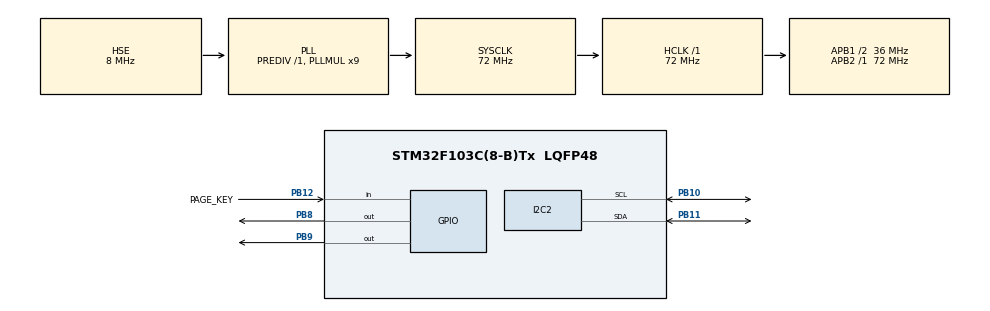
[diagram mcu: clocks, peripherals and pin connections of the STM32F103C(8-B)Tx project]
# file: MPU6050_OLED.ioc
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Mcu.Family=STM32F1
Mcu.Name=STM32F103C(8-B)Tx
Mcu.Package=LQFP48
NVIC.PriorityGroup=NVIC_PRIORITYGROUP_4
PA13.Mode=Serial_Wire
PA13.Signal=SYS_JTMS-SWDIO
PA14.Mode=Serial_Wire
PA14.Signal=SYS_JTCK-SWCLK
PB10.Mode=I2C
PB10.Signal=I2C2_SCL
PB11.Mode=I2C
PB11.Signal=I2C2_SDA
PB12.GPIO_Label=PAGE_KEY
PB12.GPIO_PuPd=GPIO_PULLUP
PB12.Signal=GPIO_Input
PB8.GPIO_ModeDefaultOutputPP=GPIO_MODE_OUTPUT_OD
PB8.GPIO_PuPd=GPIO_NOPULL
PB8.PinState=GPIO_PIN_SET
PB8.Signal=GPIO_Output
PB9.GPIO_ModeDefaultOutputPP=GPIO_MODE_OUTPUT_OD
PB9.GPIO_PuPd=GPIO_NOPULL
PB9.PinState=GPIO_PIN_SET
PB9.Signal=GPIO_Output
PD0-OSC_IN.Mode=HSE-External-Oscillator
PD0-OSC_IN.Signal=RCC_OSC_IN
PD1-OSC_OUT.Mode=HSE-External-Oscillator
PD1-OSC_OUT.Signal=RCC_OSC_OUT
ProjectManager.HeapSize=0x200
ProjectManager.StackSize=0x400
ProjectManager.TargetToolchain=CMake
RCC.AHBFreq_Value=72000000
RCC.APB1CLKDivider=RCC_HCLK_DIV2
RCC.APB1Freq_Value=36000000
RCC.APB1TimFreq_Value=72000000
RCC.APB2Freq_Value=72000000
RCC.APB2TimFreq_Value=72000000
RCC.HCLKFreq_Value=72000000
RCC.PLLMUL=RCC_PLL_MUL9
RCC.PLLSourceVirtual=RCC_PLLSOURCE_HSE
RCC.SYSCLKFreq_VALUE=72000000
RCC.SYSCLKSource=RCC_SYSCLKSOURCE_PLLCLK
RCC.USBFreq_Value=72000000
board=custom

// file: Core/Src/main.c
/* USER CODE BEGIN Header */
/**
  ******************************************************************************
  * @file           : main.c
  * @brief          : Main program body
  ******************************************************************************
  * @attention
  *
  * Copyright (c) 2026 STMicroelectronics.
  * All rights reserved.
  *
  * This software is licensed under terms that can be found in the LICENSE file
  * in the root directory of this software component.
  * If no LICENSE file comes with this software, it is provided AS-IS.
  *
  ******************************************************************************
  */
/* USER CODE END Header */
#include "main.h"
#include "i2c.h"
#include "gpio.h"

/* USER CODE BEGIN Includes */
#include "oled.h"
#include "mpu6050.h"
/* USER CODE END Includes */

/* USER CODE BEGIN PTD */
typedef enum
{
  DISPLAY_PAGE_ACCEL = 0,
  DISPLAY_PAGE_GYRO
} DisplayPage_t;

/* USER CODE END PTD */

/* USER CODE BEGIN PD */
#define PAGE_KEY_DEBOUNCE_MS 20U
#define DATA_REFRESH_MS     100U

/* USER CODE END PD */

/* USER CODE BEGIN PV */
static uint8_t mpu6050_who_am_i = 0U;
static uint8_t mpu6050_ready = 0U; /* Initialization must succeed before sampling. */
static MPU6050_RawData_t mpu6050_raw;
static int16_t mpu6050_gyro_offset[3] = {0, 0, 0};
static DisplayPage_t display_page = DISPLAY_PAGE_ACCEL;
static uint8_t page_changed = 1U;
static uint8_t data_error = 0U;
static uint32_t last_refresh_tick = 0U;
static GPIO_PinState page_key_last = GPIO_PIN_SET;
static GPIO_PinState page_key_stable = GPIO_PIN_SET;
static uint32_t page_key_change_tick = 0U;
static const char *const AppScreenTitle[2] = {"加速度", "陀螺仪"};
/* USER CODE END PV */

void SystemClock_Config(void);
/* USER CODE BEGIN PFP */
static uint8_t AppInit(void);
/* USER CODE END PFP */

/* USER CODE BEGIN 0 */
/* Axis labels used only by the startup calibration result screen. */
static const char *const AppAxisLabels[3] = {"X", "Y", "Z"};

/* Only a debounced press edge emits an event; release must debounce before rearming. */
static uint8_t AppPageKeyPressed(void)
{
  GPIO_PinState current = HAL_GPIO_ReadPin(PAGE_KEY_GPIO_Port, PAGE_KEY_Pin);
  uint32_t now = HAL_GetTick();

  if (current != page_key_last)
  {
    page_key_last = current;
    page_key_change_tick = now;
  }

  if ((current != page_key_stable) &&
      ((uint32_t)(now - page_key_change_tick) >= PAGE_KEY_DEBOUNCE_MS))
  {
    page_key_stable = current;
    return (current == GPIO_PIN_RESET) ? 1U : 0U;
  }
  return 0U;
}

static void AppShowPage(void)
{
  static const char *const labels[2][3] = {
    {"AX:", "AY:", "AZ:"},
    {"GX:", "GY:", "GZ:"}
  };

  OLED_Clear();
  OLED_ShowText(0U, 0U, AppScreenTitle[display_page]);
  for (uint8_t i = 0U; i < 3U; i++)
  {
    OLED_ShowText(0U, (uint8_t)(2U + (2U * i)), labels[display_page][i]);
  }
}

static void AppShowAxisLabels(void)
{
  for (uint8_t i = 0U; i < 3U; i++)
  {
    OLED_ShowText(0U, (uint8_t)(2U + (2U * i)), AppAxisLabels[i]);
  }
}

/**
  * @brief  Refresh the three values on the selected page.
  * @param  screen Acceleration raw values or gyroscope values minus offsets.
  */
static void AppShowValues(DisplayPage_t screen)
{
  int32_t value[3];

  /* A failed read must not leave stale values looking like current measurements. */
  if (data_error != 0U)
  {
    for (uint8_t i = 0U; i < 3U; i++)
    {
      OLED_ShowText(32U, (uint8_t)(2U + (2U * i)), "   ERR");
    }
    return;
  }

  if (screen == DISPLAY_PAGE_ACCEL)
  {
    value[0] = mpu6050_raw.accel_x;
    value[1] = mpu6050_raw.accel_y;
    value[2] = mpu6050_raw.accel_z;
  }
  else
  {
    /* 校准的含义就是把静止时测到的零偏减掉，这里直接把这一步写出来 */
    value[0] = (int32_t)mpu6050_raw.gyro_x - (int32_t)mpu6050_gyro_offset[0];
    value[1] = (int32_t)mpu6050_raw.gyro_y - (int32_t)mpu6050_gyro_offset[1];
    value[2] = (int32_t)mpu6050_raw.gyro_z - (int32_t)mpu6050_gyro_offset[2];
  }

  for (uint8_t i = 0U; i < 3U; i++)
  {
    OLED_ShowTextNum(32U, (uint8_t)(2U + (2U * i)), value[i], 6U);
  }
}

/**
  * @brief  Show a startup message and optionally hold it on screen.
  * @param  hold_ms Zero returns immediately; otherwise delay in milliseconds.
  *                 Used only during startup, before key polling begins.
  */
static void AppShowMessage(const char *line0, const char *line1, uint32_t hold_ms)
{
  OLED_Clear();
  OLED_ShowText(0U, 0U, line0);
  if (line1 != NULL)
  {
    OLED_ShowText(0U, 2U, line1);
  }

  if (hold_ms != 0U)
  {
    HAL_Delay(hold_ms);
  }
}

/**
  * @brief  Initialize the displays and sensor, then calibrate gyro offsets.
  * @retval 1 when ready to sample; 0 on initialization failure.
  * @note   Keep the failure message visible without blocking in a failure loop.
  *         器件不在线时系统仍然继续运行
  */
static uint8_t AppInit(void)
{
  OLED_Init();
  AppShowMessage("MPU6050", "INIT", 1200U);

  /* Check device acknowledgement and identity before configuring it.
     I2C 读写都带毫秒级超时，器件不在线时不会卡死 */
  if ((MPU6050_IsReady() != HAL_OK) || (MPU6050_ReadWhoAmI(&mpu6050_who_am_i) != HAL_OK))
  {
    AppShowMessage("NO RESPONSE", NULL, 0U);
    return 0U;
  }

  OLED_Clear();
  OLED_ShowText(0U, 0U, "ID:");
  OLED_ShowTextHex(48U, 0U, mpu6050_who_am_i);

  if (mpu6050_who_am_i != MPU6050_WHO_AM_I_ID)
  {
    /* 通信成功但身份不符：可能不是 MPU6050，或寄存器被改写 */
    OLED_ShowText(0U, 2U, "ID MISMATCH");
    return 0U;
  }
  OLED_ShowText(0U, 2U, "DEVICE OK");
  HAL_Delay(1200U);

  /* Wake the device before setting measurement ranges. */
  if (MPU6050_Init() != HAL_OK)
  {
    AppShowMessage("INIT FAILED", NULL, 0U);
    return 0U;
  }

  /* Allow time to put the sensor down before measuring stationary offsets.
     Keep the existing startup calibration sequence and timing. */
  AppShowMessage("CALIBRATING", "KEEP STILL", 500U);
  if (MPU6050_CalibrateGyro() != HAL_OK)
  {
    AppShowMessage("CALIB FAILED", NULL, 0U);
    return 0U;
  }

  MPU6050_GetGyroOffset(mpu6050_gyro_offset);

  /* Show offsets to allow a manual calibration sanity check. */
  OLED_Clear();
  OLED_ShowText(0U, 0U, "CALIB DONE");
  AppShowAxisLabels();
  for (uint8_t i = 0U; i < 3U; i++)
  {
    OLED_ShowTextNum(16U, (uint8_t)(2U + (2U * i)), mpu6050_gyro_offset[i], 6U);
  }
  HAL_Delay(1500U);

  /* The main loop draws the initial ACCEL page once after startup. */
  page_key_last = HAL_GPIO_ReadPin(PAGE_KEY_GPIO_Port, PAGE_KEY_Pin);
  page_key_stable = page_key_last;
  page_key_change_tick = HAL_GetTick();

  return 1U;
}
/* USER CODE END 0 */

int main(void)
{

  /* MCU Configuration--------------------------------------------------------*/

  /* Reset of all peripherals, Initializes the Flash interface and the Systick. */
  HAL_Init();

  /* Configure the system clock */
  SystemClock_Config();

  /* Initialize all configured peripherals */
  MX_GPIO_Init();
  MX_I2C2_Init();
  /* USER CODE BEGIN 2 */
  mpu6050_ready = AppInit();
  /* USER CODE END 2 */

  /* Infinite loop */
  while (1)
  {

    /* USER CODE BEGIN 3 */
    if (mpu6050_ready != 0U)
    {
      if (AppPageKeyPressed() != 0U)
      {
        display_page = (display_page == DISPLAY_PAGE_ACCEL)
                         ? DISPLAY_PAGE_GYRO : DISPLAY_PAGE_ACCEL;
        page_changed = 1U;
      }

      if ((page_changed != 0U) ||
          ((uint32_t)(HAL_GetTick() - last_refresh_tick) >= DATA_REFRESH_MS))
      {
        data_error = (MPU6050_ReadRawData(&mpu6050_raw) == HAL_OK) ? 0U : 1U;
        if (page_changed != 0U)
        {
          AppShowPage();
          page_changed = 0U;
        }
        AppShowValues(display_page);
        /* Keep polling the key between refreshes without a blocking delay. */
        last_refresh_tick = HAL_GetTick();
      }
    }
  }
  /* USER CODE END 3 */
}

void SystemClock_Config(void)
{
  RCC_OscInitTypeDef RCC_OscInitStruct = {0};
  RCC_ClkInitTypeDef RCC_ClkInitStruct = {0};

  /** Initializes the RCC Oscillators according to the specified parameters
  * in the RCC_OscInitTypeDef structure.
  */
  RCC_OscInitStruct.OscillatorType = RCC_OSCILLATORTYPE_HSE;
  RCC_OscInitStruct.HSEState = RCC_HSE_ON;
  RCC_OscInitStruct.HSEPredivValue = RCC_HSE_PREDIV_DIV1;
  RCC_OscInitStruct.HSIState = RCC_HSI_ON;
  RCC_OscInitStruct.PLL.PLLState = RCC_PLL_ON;
  RCC_OscInitStruct.PLL.PLLSource = RCC_PLLSOURCE_HSE;
  RCC_OscInitStruct.PLL.PLLMUL = RCC_PLL_MUL9;
  if (HAL_RCC_OscConfig(&RCC_OscInitStruct) != HAL_OK)
  {
    Error_Handler();
  }

  /** Initializes the CPU, AHB and APB buses clocks
  */
  RCC_ClkInitStruct.ClockType = RCC_CLOCKTYPE_HCLK|RCC_CLOCKTYPE_SYSCLK
                              |RCC_CLOCKTYPE_PCLK1|RCC_CLOCKTYPE_PCLK2;
  RCC_ClkInitStruct.SYSCLKSource = RCC_SYSCLKSOURCE_PLLCLK;
  RCC_ClkInitStruct.AHBCLKDivider = RCC_SYSCLK_DIV1;
  RCC_ClkInitStruct.APB1CLKDivider = RCC_HCLK_DIV2;
  RCC_ClkInitStruct.APB2CLKDivider = RCC_HCLK_DIV1;

  if (HAL_RCC_ClockConfig(&RCC_ClkInitStruct, FLASH_LATENCY_2) != HAL_OK)
  {
    Error_Handler();
  }
}

void Error_Handler(void)
{
  __disable_irq();
  while (1)
  {
  }
}
